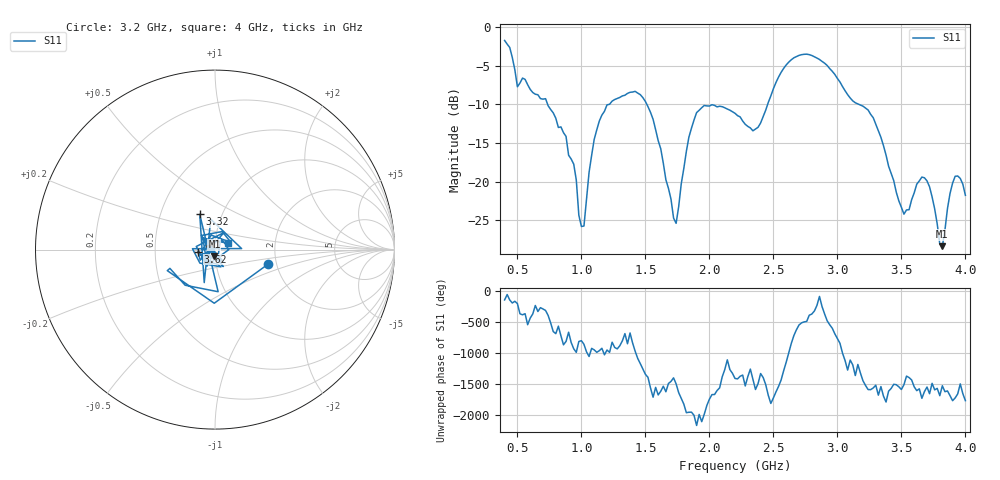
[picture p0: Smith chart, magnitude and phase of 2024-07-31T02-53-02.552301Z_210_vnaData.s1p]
!Created with skrf (http://scikit-rf.org).
# Hz S RI R 50.0
!freq ReS11 ImS11
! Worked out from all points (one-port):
!   181 points, 400 MHz to 4 GHz, reference 50 ohm
!   lowest |S11| = -28.4 dB at 3.82 GHz (marker M1), VSWR 1.08, Z = 49.6 - j3.78 ohm
!   |S11| at or under -10 dB: 736 MHz to 1.219 GHz (482.9 MHz wide, 49.4 % of centre); 1.511 GHz to 2.455 GHz (944.1 MHz wide, 47.6 % of centre); 3.167 GHz to end of sweep
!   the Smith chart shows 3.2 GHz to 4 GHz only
!   S11 on the Smith chart (normalised r, x): 3.2 GHz: 1.81, -0.32; 3.32 GHz: 0.78, +0.32; 3.62 GHz: 0.83, -0.02; 4 GHz: 1.16, +0.08
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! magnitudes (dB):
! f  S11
! 400 MHz  -1.7
! 500 MHz  -7.7
! 720 MHz  -9.3
! 860 MHz  -13.7
! 1.02 GHz  -25.8
! 1.06 GHz  -18.8
! 1.12 GHz  -13.3
! 1.3 GHz  -9.1
! 1.5 GHz  -9.6
! 1.62 GHz  -15.8
! 1.72 GHz  -24.7
! 1.76 GHz  -23.2
! 1.84 GHz  -14.2
! 1.9 GHz  -11.1
! 2.2 GHz  -11.2
! 2.38 GHz  -13.0
! 2.66 GHz  -4.0
! 2.86 GHz  -4.2
! 3.1 GHz  -9.2
! 3.2 GHz  -10.2
! 3.32 GHz  -13.4
! 3.52 GHz  -24.2
! 3.56 GHz  -23.6
! 3.62 GHz  -20.3
! 3.72 GHz  -20.7
! 3.82 GHz  -28.4
! 3.92 GHz  -19.3
! 4 GHz  -21.8
